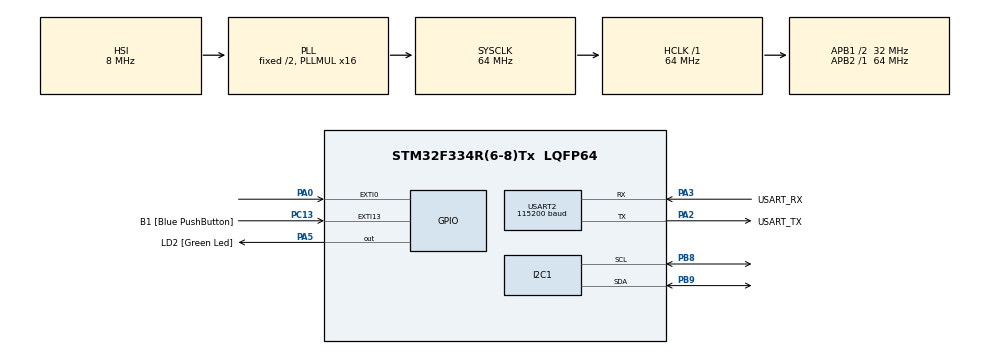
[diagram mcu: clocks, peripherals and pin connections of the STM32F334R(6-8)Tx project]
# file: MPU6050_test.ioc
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Mcu.Family=STM32F3
Mcu.Name=STM32F334R(6-8)Tx
Mcu.Package=LQFP64
NVIC.PriorityGroup=NVIC_PRIORITYGROUP_0
PA0.Signal=GPXTI0
PA13.GPIO_Label=TMS
PA13.Mode=Serial_Wire
PA13.Signal=SYS_JTMS-SWDIO
PA14.GPIO_Label=TCK
PA14.Mode=Serial_Wire
PA14.Signal=SYS_JTCK-SWCLK
PA2.GPIO_Label=USART_TX
PA2.Mode=Asynchronous
PA2.Signal=USART2_TX
PA3.GPIO_Label=USART_RX
PA3.Mode=Asynchronous
PA3.Signal=USART2_RX
PA5.GPIO_Label=LD2 [Green Led]
PA5.Signal=GPIO_Output
PB3.GPIO_Label=SWO
PB3.Signal=SYS_JTDO-TRACESWO
PB8.Mode=I2C
PB8.Signal=I2C1_SCL
PB9.Mode=I2C
PB9.Signal=I2C1_SDA
PC13.GPIO_Label=B1 [Blue PushButton]
PC13.GPIO_ModeDefaultEXTI=GPIO_MODE_IT_FALLING
PC13.Signal=GPXTI13
PC14\ /\ OSC32_IN.Mode=LSE-External-Oscillator
PC14\ /\ OSC32_IN.Signal=RCC_OSC32_IN
PC15\ /\ OSC32_OUT.GPIO_Label=RCC_OSC32_OUT
PC15\ /\ OSC32_OUT.Mode=LSE-External-Oscillator
PC15\ /\ OSC32_OUT.Signal=RCC_OSC32_OUT
PF0\ /\ OSC_IN.Mode=HSE-External-Clock-Source
PF0\ /\ OSC_IN.Signal=RCC_OSC_IN
PF1\ /\ OSC_OUT.Signal=RCC_OSC_OUT
ProjectManager.HeapSize=0x200
ProjectManager.StackSize=0x400
ProjectManager.TargetToolchain=STM32CubeIDE
RCC.AHBFreq_Value=64000000
RCC.APB1CLKDivider=RCC_HCLK_DIV2
RCC.APB1Freq_Value=32000000
RCC.APB1TimFreq_Value=64000000
RCC.APB2Freq_Value=64000000
RCC.APB2TimFreq_Value=64000000
RCC.CortexFreq_Value=64000000
RCC.FLatency-AdvancedSettings=FLASH_LATENCY_2
RCC.HCLKFreq_Value=64000000
RCC.HSE_VALUE=8000000
RCC.HSI_VALUE=8000000
RCC.PLLMUL=RCC_PLL_MUL16
RCC.SYSCLKFreq_VALUE=64000000
RCC.SYSCLKSourceVirtual=RCC_SYSCLKSOURCE_PLLCLK
USART2.BaudRate=115200
USART2.VirtualMode-Asynchronous=VM_ASYNC
USART2.WordLength=WORDLENGTH_8B
board=NUCLEO-F334R8

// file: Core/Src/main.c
/* USER CODE BEGIN Header */
/**
  ******************************************************************************
  * @file           : main.c
  * @brief          : Main program body
  ******************************************************************************
  * @attention
  *
  * Copyright (c) 2023 STMicroelectronics.
  * All rights reserved.
  *
  * This software is licensed under terms that can be found in the LICENSE file
  * in the root directory of this software component.
  * If no LICENSE file comes with this software, it is provided AS-IS.
  *
  ******************************************************************************
  */
/* USER CODE END Header */
#include "main.h"

/* USER CODE BEGIN Includes */
#include "stdlib.h"
#include "string.h"
#include "MPU6050.h"
/* USER CODE END Includes */

/* USER CODE BEGIN PD */

//#define WHO_AM_I 0x75
/* USER CODE END PD */

I2C_HandleTypeDef hi2c1;

UART_HandleTypeDef huart2;

/* USER CODE BEGIN PV */
mpu6050_t MPU6050;
/* USER CODE END PV */

void SystemClock_Config(void);
static void MX_GPIO_Init(void);
static void MX_USART2_UART_Init(void);
static void MX_I2C1_Init(void);
/* USER CODE BEGIN PFP */
void I2C_detect(I2C_HandleTypeDef * I2C);

/* USER CODE END PFP */

/* USER CODE BEGIN 0 */
void print_data(int16_t x_data,int16_t y_data,int16_t z_data)
{
	char *msg = (char *)malloc(50*sizeof(char));

	sprintf(msg,"X_DATA:%d \n Y_data: %d\n Z_data: %d\n ",x_data,y_data,z_data);
	HAL_UART_Transmit(&huart2, (uint8_t*)msg, strlen(msg), 10);
	free(msg);
}
/* USER CODE END 0 */

int main(void)
{

  /* MCU Configuration--------------------------------------------------------*/

  /* Reset of all peripherals, Initializes the Flash interface and the Systick. */
  HAL_Init();

  /* Configure the system clock */
  SystemClock_Config();

  /* Initialize all configured peripherals */
  MX_GPIO_Init();
  MX_USART2_UART_Init();
  MX_I2C1_Init();
  /* USER CODE BEGIN 2 */

  MPU6050_init(&MPU6050, &hi2c1,&huart2);

  /* USER CODE END 2 */

  /* Infinite loop */
  while (1)
  {

    /* USER CODE BEGIN 3 */
//	  MPU6050_READ_ACCEL_DATA(&MPU6050_t);
	  read_fifo(&MPU6050); // for accelerometer
	  HAL_UART_Transmit(&huart2, (uint8_t *)"\n-----------------------------------------------\n", strlen("-------------------------------------------------"), 10);
	  HAL_Delay(1500);
  }
  /* USER CODE END 3 */
}

void SystemClock_Config(void)
{
  RCC_OscInitTypeDef RCC_OscInitStruct = {0};
  RCC_ClkInitTypeDef RCC_ClkInitStruct = {0};
  RCC_PeriphCLKInitTypeDef PeriphClkInit = {0};

  /** Initializes the RCC Oscillators according to the specified parameters
  * in the RCC_OscInitTypeDef structure.
  */
  RCC_OscInitStruct.OscillatorType = RCC_OSCILLATORTYPE_HSI;
  RCC_OscInitStruct.HSIState = RCC_HSI_ON;
  RCC_OscInitStruct.HSICalibrationValue = RCC_HSICALIBRATION_DEFAULT;
  RCC_OscInitStruct.PLL.PLLState = RCC_PLL_ON;
  RCC_OscInitStruct.PLL.PLLSource = RCC_PLLSOURCE_HSI;
  RCC_OscInitStruct.PLL.PLLMUL = RCC_PLL_MUL16;
  if (HAL_RCC_OscConfig(&RCC_OscInitStruct) != HAL_OK)
  {
    Error_Handler();
  }
  /** Initializes the CPU, AHB and APB buses clocks
  */
  RCC_ClkInitStruct.ClockType = RCC_CLOCKTYPE_HCLK|RCC_CLOCKTYPE_SYSCLK
                              |RCC_CLOCKTYPE_PCLK1|RCC_CLOCKTYPE_PCLK2;
  RCC_ClkInitStruct.SYSCLKSource = RCC_SYSCLKSOURCE_PLLCLK;
  RCC_ClkInitStruct.AHBCLKDivider = RCC_SYSCLK_DIV1;
  RCC_ClkInitStruct.APB1CLKDivider = RCC_HCLK_DIV2;
  RCC_ClkInitStruct.APB2CLKDivider = RCC_HCLK_DIV1;

  if (HAL_RCC_ClockConfig(&RCC_ClkInitStruct, FLASH_LATENCY_2) != HAL_OK)
  {
    Error_Handler();
  }
  PeriphClkInit.PeriphClockSelection = RCC_PERIPHCLK_I2C1;
  PeriphClkInit.I2c1ClockSelection = RCC_I2C1CLKSOURCE_HSI;
  if (HAL_RCCEx_PeriphCLKConfig(&PeriphClkInit) != HAL_OK)
  {
    Error_Handler();
  }
}

static void MX_I2C1_Init(void)
{

  hi2c1.Instance = I2C1;
  hi2c1.Init.Timing = 0x2000090E;
  hi2c1.Init.OwnAddress1 = 0;
  hi2c1.Init.AddressingMode = I2C_ADDRESSINGMODE_7BIT;
  hi2c1.Init.DualAddressMode = I2C_DUALADDRESS_DISABLE;
  hi2c1.Init.OwnAddress2 = 0;
  hi2c1.Init.OwnAddress2Masks = I2C_OA2_NOMASK;
  hi2c1.Init.GeneralCallMode = I2C_GENERALCALL_DISABLE;
  hi2c1.Init.NoStretchMode = I2C_NOSTRETCH_DISABLE;
  if (HAL_I2C_Init(&hi2c1) != HAL_OK)
  {
    Error_Handler();
  }
  /** Configure Analogue filter
  */
  if (HAL_I2CEx_ConfigAnalogFilter(&hi2c1, I2C_ANALOGFILTER_ENABLE) != HAL_OK)
  {
    Error_Handler();
  }
  /** Configure Digital filter
  */
  if (HAL_I2CEx_ConfigDigitalFilter(&hi2c1, 0) != HAL_OK)
  {
    Error_Handler();
  }

}

static void MX_USART2_UART_Init(void)
{

  huart2.Instance = USART2;
  huart2.Init.BaudRate = 115200;
  huart2.Init.WordLength = UART_WORDLENGTH_8B;
  huart2.Init.StopBits = UART_STOPBITS_1;
  huart2.Init.Parity = UART_PARITY_NONE;
  huart2.Init.Mode = UART_MODE_TX_RX;
  huart2.Init.HwFlowCtl = UART_HWCONTROL_NONE;
  huart2.Init.OverSampling = UART_OVERSAMPLING_16;
  huart2.Init.OneBitSampling = UART_ONE_BIT_SAMPLE_DISABLE;
  huart2.AdvancedInit.AdvFeatureInit = UART_ADVFEATURE_NO_INIT;
  if (HAL_UART_Init(&huart2) != HAL_OK)
  {
    Error_Handler();
  }

}

static void MX_GPIO_Init(void)
{
  GPIO_InitTypeDef GPIO_InitStruct = {0};

  /* GPIO Ports Clock Enable */
  __HAL_RCC_GPIOC_CLK_ENABLE();
  __HAL_RCC_GPIOF_CLK_ENABLE();
  __HAL_RCC_GPIOA_CLK_ENABLE();
  __HAL_RCC_GPIOB_CLK_ENABLE();

  /*Configure GPIO pin Output Level */
  HAL_GPIO_WritePin(LD2_GPIO_Port, LD2_Pin, GPIO_PIN_RESET);

  /*Configure GPIO pin : B1_Pin */
  GPIO_InitStruct.Pin = B1_Pin;
  GPIO_InitStruct.Mode = GPIO_MODE_IT_FALLING;
  GPIO_InitStruct.Pull = GPIO_NOPULL;
  HAL_GPIO_Init(B1_GPIO_Port, &GPIO_InitStruct);

  /*Configure GPIO pin : PA0 */
  GPIO_InitStruct.Pin = GPIO_PIN_0;
  GPIO_InitStruct.Mode = GPIO_MODE_IT_RISING;
  GPIO_InitStruct.Pull = GPIO_NOPULL;
  HAL_GPIO_Init(GPIOA, &GPIO_InitStruct);

  /*Configure GPIO pin : LD2_Pin */
  GPIO_InitStruct.Pin = LD2_Pin;
  GPIO_InitStruct.Mode = GPIO_MODE_OUTPUT_PP;
  GPIO_InitStruct.Pull = GPIO_NOPULL;
  GPIO_InitStruct.Speed = GPIO_SPEED_FREQ_LOW;
  HAL_GPIO_Init(LD2_GPIO_Port, &GPIO_InitStruct);

}

/* USER CODE BEGIN 4 */

//void I2C_read( uint8_t register_address, uint8_t * buf, uint16_t size)
//{
//	uint8_t reg_address = register_address;
//	HAL_I2C_Master_Transmit(&hi2c1, MPU6050_ADDRESS<<1, &reg_address, 1, 50);
//	HAL_I2C_Master_Receive(&hi2c1, MPU6050_ADDRESS <<1, buf, size, 50);
//
//}
//

void I2C_detect(I2C_HandleTypeDef * I2C)
{
	char * msg;

	msg = (char *)malloc(30*sizeof(char));

//	I2C_HandleTypeDef I2C;
	uint16_t address;
	uint8_t devices = 0;
	for(int i =0x03;i<0x77;i++)
	{
		address = i << 1;

		if(HAL_OK == HAL_I2C_IsDeviceReady(&hi2c1, address, 2, 50)){
			devices++;

			sprintf(msg,"The Address is 0x%02X\n",address);
			HAL_UART_Transmit(&huart2, (uint8_t *)msg, strlen(msg), 50);
//			break;
		}

	}

	if(devices == 0){
			sprintf(msg,"It did not find any devices\n");
			HAL_UART_Transmit(&huart2, (uint8_t *)msg, strlen(msg), 50);
	}
	else{

	}

}
/* USER CODE END 4 */

void Error_Handler(void)
{
  __disable_irq();
  while (1)
  {
  }
}
